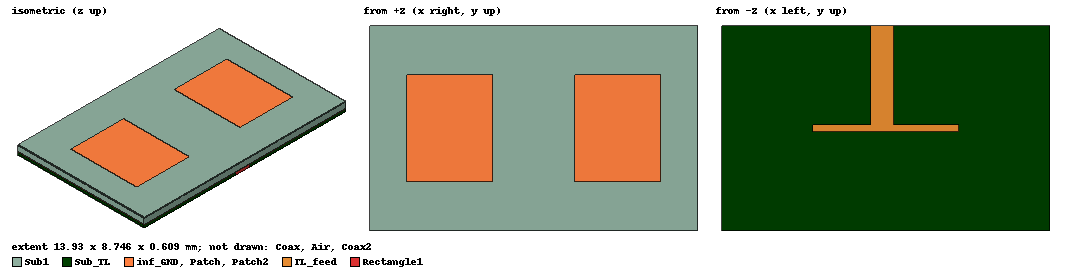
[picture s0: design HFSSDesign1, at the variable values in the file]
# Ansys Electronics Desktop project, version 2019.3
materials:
  vacuum: permittivity=1
  Rogers RT/duroid 5880 (tm): permittivity=2.2 dielectric_loss_tangent=0.0009
  pec: conductivity=1e+30
  Rogers RO4003 (tm): permittivity=3.55 dielectric_loss_tangent=0.0027

design HFSSDesign1 (HFSS, DrivenModal, model units mm)
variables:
  Lp = 3.64mm  # optimise 1.961496581mm..5.884489743mm
  Wp = 4.55mm  # optimise 2.538622579mm..7.615867737mm
  hs = 0.406mm
  Ws = Wp+6*hs+.88mm*2
  Ls = 6*hs+Lp*2+4.21mm
  xsub = -Ls/2
  ysub = -Ws/2
  xfeed = 1.2mm  # optimise 0.4620027115mm..1.3860081345mm
  dp = 3.5mm  # optimise 0.19101913mm..0.57305739mm
  rcoax = 0.16mm
  hcoax = 0.203mm
  rprope = 0.07mm
  Lair = 0.01+Ls
  Wair = 0.01+Ws
  xair = Lair/2
  yair = Wair/2
  hair = 5mm
  yfeed = 0mm
  xp = dp/2
  yp = -Wp/2
  hgnd = -0.032mm
  Xcoax = 2
  WTL_In = 0.673367mm
  LTL_feed = 2.179581mm
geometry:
  Sub1 [Rogers RO4003 (tm)] = box(corner=(xsub, ysub, 0mm), size=(Ls, Ws, hs))
  Patch [Rogers RT/duroid 5880 (tm)] = rectangle(corner=(xp, yp, hs), x_size=Lp, y_size=Wp)
  Coax [vacuum] = cylinder(axis=Z, base_centre=(xp+xfeed, yfeed, 0mm), radius=rcoax, height=-hcoax)
  Coax_Pin [pec] = cylinder(axis=Z, base_centre=(xp+xfeed, yfeed, 0mm), radius=rprope, height=-hcoax)
  Prope [pec] = cylinder(axis=Z, base_centre=(xp+xfeed, yfeed, 0mm), radius=rprope, height=hs)
  Air [vacuum] = box(corner=(-xair, -yair, -hcoax), size=(Lair, Wair, hair +0.3mm))
  Patch2 = rectangle(corner=(xp-Lp-dp, yp, hs), x_size=Lp, y_size=Wp)
  Coax2 [vacuum] = cylinder(axis=Z, base_centre=(-(xp+xfeed), yfeed, 0mm), radius=rcoax, height=-hcoax)
  Coax_Pin2 [pec] = cylinder(axis=Z, base_centre=(-(xp+xfeed), yfeed, 0mm), radius=rprope, height=-hcoax)
  Prope2 [pec] = cylinder(axis=Z, base_centre=(-(xp+xfeed), yfeed, 0mm), radius=rprope, height=hs)
  inf_GND [pec] = box(corner=(xsub, ysub, 0mm), size=(Ls, Ws, hgnd))
  Cylinder_cut_2 = cylinder(axis=Z, base_centre=(-(xp+xfeed), yfeed, 0), radius=rcoax, height=hgnd)
  Cylinder_cut_1 = cylinder(axis=Z, base_centre=(xp+xfeed, yfeed, 0), radius=rcoax, height=hgnd)
  inf_GND.subtract(Cylinder_cut_1)
  inf_GND.subtract(Cylinder_cut_2)
  Sub_TL [Rogers RO4003 (tm)] = box(corner=(xsub, ysub, 0mm), size=(Ls, Ws, -hcoax))
  TL_In = rectangle(corner=(xfeed+xp+rcoax, yfeed -rcoax, -hcoax), x_size=-2*(xfeed+xp+rcoax), y_size=Xcoax * rcoax)
  TL_feed = rectangle(corner=(-WTL_In/2, yfeed -rcoax+Xcoax * rcoax, -hcoax), x_size=0.972877mm, y_size=(4.221002-0.008) mm)
  TL_feed.unite(TL_In)
  Rectangle1 = rectangle(corner=(0.6361935mm, 4.373002mm, -0.203mm), z_size=hcoax+hgnd, x_size=-0.972877mm)
  group Input_feed1 = Coax, Coax_Pin, Prope
  group Input_feed2 = Coax2, Coax_Pin2, Prope2
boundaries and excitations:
  PerfE_Patch: Perfect E Objects=Patch
  Rad1: Radiation Faces=Air.face(+x, +y, -y, -x, +z)
  PerfE1: Perfect E Objects=Patch2
  PerfE2: Perfect E Objects=TL_feed
  1: Lumped Port Objects=Rectangle1 Modes{Mode1{IntLine{middle of Rectangle1.edge(z at corner) -> middle of Rectangle1.edge(z opposite corner)} CharImp=Zpi RenormImp=50ohm}} Impedance=50ohm
  reference conductors: inf_GND
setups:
  Setup1: HfssDriven Frequency=20GHz MaxDeltaS=0.02 MaximumPasses=18 MinimumPasses=1 MinimumConvergedPasses=1 PercentRefinement=30 BasisOrder=1 PortAccuracy=2
    sweep Sweep: 18GHz to 22GHz step 0.1GHz; Type=Fast SaveFields SaveRadFields GenerateFieldsForAllFreqs
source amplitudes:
  1:1: 1W 0deg
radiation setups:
  e_plane: Infinite Sphere Theta=-180deg..180deg step 2deg Phi=0deg..0deg step 1deg
  h_plane: Infinite Sphere Theta=-180deg..180deg step 2deg Phi=90deg..90deg step 1deg
  3d: Infinite Sphere Theta=-180deg..180deg step 2deg Phi=0deg..360deg step 2deg
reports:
  Eradation_pattern: abs(rETotal) vs Theta on Setup1 : LastAdaptive, e_plane [Phi=all Freq=20GHz]
  Hradation_pattern: abs(rETotal) vs Theta on Setup1 : LastAdaptive, h_plane [Phi=all Freq=20GHz]
  Co_X_graph: dB10normalize(GainPhi), dB10normalize(GainTheta) vs Theta on Setup1 : LastAdaptive, e_plane [Phi=0deg Freq=20GHz]
  Port Zo Plot 1: mag(Zo(1)) vs Freq on Setup1 : Sweep; markers MX1 at x=2.0003783e+10
  S Parameter Plot 1: dB(S(1,1)) vs Freq on Setup1 : Sweep; markers MX1 at x=1.9841695e+10, MX2 at x=2.0211817e+10
  Z Parameter Plot 1: mag(Z(1,1)) vs Freq on Setup1 : Sweep; markers MX1 at x=2.0003367e+10
  rE Plot 1: rETotal vs Phi, Theta on Setup1 : LastAdaptive, 3d [Freq=20GHz]
  Gain Plot 1: mag(GainTotal) vs Phi, Theta on Setup1 : LastAdaptive, 3d [Freq=20GHz]
  Gain Plot 2: mag(GainTotal) vs Phi, Theta on Setup1 : LastAdaptive, e_plane [Freq=20GHz]
  S Parameter Plot 2: dB(S(1,1)) vs Freq on Setup1 : Sweep
  S Parameter Plot 3: dB(S(1,1)) vs Freq on Setup1 : Sweep
  Z Parameter Plot 2: dB20(Z(1,1)) vs Freq on Setup1 : Sweep
  Z Parameter Plot 3: mag(Z(1,1)) vs Freq on Setup1 : Sweep; markers MX1 at x=2.0004181e+10
